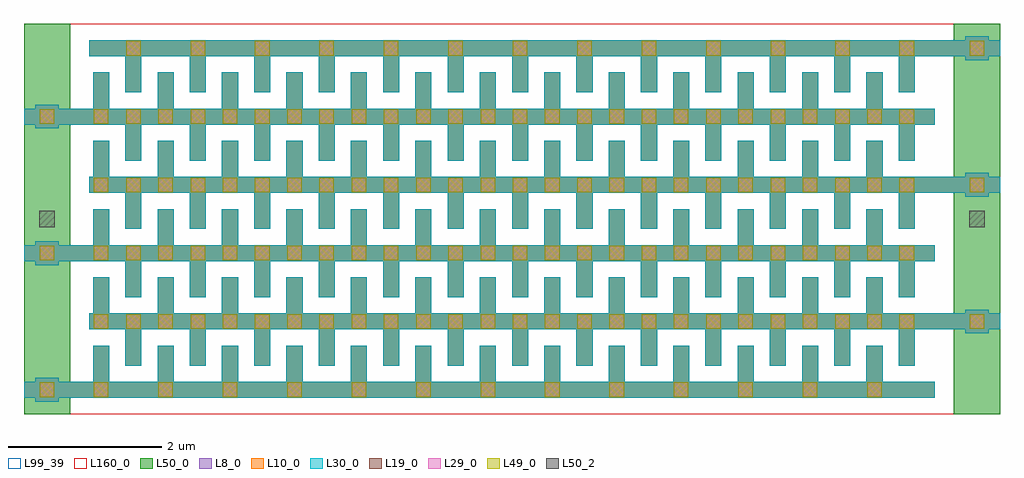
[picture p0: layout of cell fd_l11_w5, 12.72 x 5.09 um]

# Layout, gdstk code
import gdstk
lib = gdstk.Library(unit=1e-6, precision=1e-09)
def R(c, l, rs):  # rectangles x0, y0, x1, y1
    for r in rs: c.add(gdstk.rectangle(r[:2], r[2:], *l))
def A(c, l, x, y, w, h, nx, ny, dx, dy):  # array of equal rectangles
    R(c, l, [(x+i*dx, y+j*dy, x+i*dx+w, y+j*dy+h) for i in range(nx) for j in range(ny)])
L8_0 = (8, 0)
L10_0 = (10, 0)
L19_0 = (19, 0)
L29_0 = (29, 0)
L30_0 = (30, 0)
L49_0 = (49, 0)
L50_0 = (50, 0)
L50_2 = (50, 2)
L99_39 = (99, 39)
L160_0 = (160, 0)

fd_l11_w5 = lib.new_cell('fd_l11_w5')
A(fd_l11_w5, L8_0, -0.755, -0.155, 0.31, 0.31, 1, 3, 0, 1.78)
A(fd_l11_w5, L8_0, -0.9, -0.105, 11.87, 0.21, 1, 3, 0, 1.78)
A(fd_l11_w5, L8_0, 0, 0, 0.21, 0.575, 13, 5, 0.84, 0.89)
A(fd_l11_w5, L8_0, 0.42, 0.315, 0.21, 0.575, 13, 5, 0.84, 0.89)
A(fd_l11_w5, L8_0, 11.365, 0.735, 0.31, 0.31, 1, 3, 0, 1.78)
A(fd_l11_w5, L8_0, -0.05, 0.785, 11.87, 0.21, 1, 3, 0, 1.78)
A(fd_l11_w5, L10_0, -0.755, -0.155, 0.31, 0.31, 1, 3, 0, 1.78)
A(fd_l11_w5, L10_0, -0.9, -0.105, 11.87, 0.21, 1, 3, 0, 1.78)
A(fd_l11_w5, L10_0, 0, 0, 0.21, 0.575, 13, 5, 0.84, 0.89)
A(fd_l11_w5, L10_0, 0.42, 0.315, 0.21, 0.575, 13, 5, 0.84, 0.89)
A(fd_l11_w5, L10_0, 11.365, 0.735, 0.31, 0.31, 1, 3, 0, 1.78)
A(fd_l11_w5, L10_0, -0.05, 0.785, 11.87, 0.21, 1, 3, 0, 1.78)
A(fd_l11_w5, L19_0, -0.695, -0.095, 0.19, 0.19, 1, 3, 0, 1.78)
A(fd_l11_w5, L19_0, 0.01, -0.095, 0.19, 0.19, 13, 1, 0.84, 0)
A(fd_l11_w5, L19_0, 0.01, 0.795, 0.19, 0.19, 26, 4, 0.42, 0.89)
A(fd_l11_w5, L19_0, 11.425, 0.795, 0.19, 0.19, 1, 3, 0, 1.78)
A(fd_l11_w5, L19_0, 0.43, 4.355, 0.19, 0.19, 13, 1, 0.84, 0)
A(fd_l11_w5, L29_0, -0.695, -0.095, 0.19, 0.19, 1, 3, 0, 1.78)
A(fd_l11_w5, L29_0, 0.01, -0.095, 0.19, 0.19, 13, 1, 0.84, 0)
A(fd_l11_w5, L29_0, 0.01, 0.795, 0.19, 0.19, 26, 4, 0.42, 0.89)
A(fd_l11_w5, L29_0, 11.425, 0.795, 0.19, 0.19, 1, 3, 0, 1.78)
A(fd_l11_w5, L29_0, 0.43, 4.355, 0.19, 0.19, 13, 1, 0.84, 0)
A(fd_l11_w5, L30_0, -0.755, -0.155, 0.31, 0.31, 1, 3, 0, 1.78)
A(fd_l11_w5, L30_0, -0.9, -0.105, 11.87, 0.21, 1, 3, 0, 1.78)
A(fd_l11_w5, L30_0, 0, 0, 0.21, 0.575, 13, 5, 0.84, 0.89)
A(fd_l11_w5, L30_0, 0.42, 0.315, 0.21, 0.575, 13, 5, 0.84, 0.89)
A(fd_l11_w5, L30_0, 11.365, 0.735, 0.31, 0.31, 1, 3, 0, 1.78)
A(fd_l11_w5, L30_0, -0.05, 0.785, 11.87, 0.21, 1, 3, 0, 1.78)
A(fd_l11_w5, L49_0, -0.695, -0.095, 0.19, 0.19, 1, 3, 0, 1.78)
A(fd_l11_w5, L49_0, 0.01, -0.095, 0.19, 0.19, 13, 1, 0.84, 0)
A(fd_l11_w5, L49_0, 0.01, 0.795, 0.19, 0.19, 26, 4, 0.42, 0.89)
A(fd_l11_w5, L49_0, 11.425, 0.795, 0.19, 0.19, 1, 3, 0, 1.78)
A(fd_l11_w5, L49_0, 0.43, 4.355, 0.19, 0.19, 13, 1, 0.84, 0)
A(fd_l11_w5, L50_0, -0.9, -0.105, 11.87, 0.21, 1, 3, 0, 1.78)
A(fd_l11_w5, L50_0, 0, 0, 0.21, 0.575, 13, 5, 0.84, 0.89)
A(fd_l11_w5, L50_0, 0.42, 0.315, 0.21, 0.575, 13, 5, 0.84, 0.89)
A(fd_l11_w5, L50_0, -0.05, 0.785, 11.87, 0.21, 1, 3, 0, 1.78)
R(fd_l11_w5, L50_0, [(-0.9,-0.32,-0.3,4.77), (11.22,-0.32,11.82,4.77)])
R(fd_l11_w5, L50_2, [(-0.7,2.12,-0.5,2.33), (11.42,2.12,11.62,2.33)])
R(fd_l11_w5, L99_39, [(-0.9,-0.32,11.82,4.77)])
R(fd_l11_w5, L160_0, [(-0.9,-0.32,11.82,4.77)])
fd_l11_w5.add(gdstk.Label('cap_cmomi C=42.374fF', (-0.9,-0.82), layer=63, texttype=0))

lib.write_gds('fd_l11_w5.gds')
